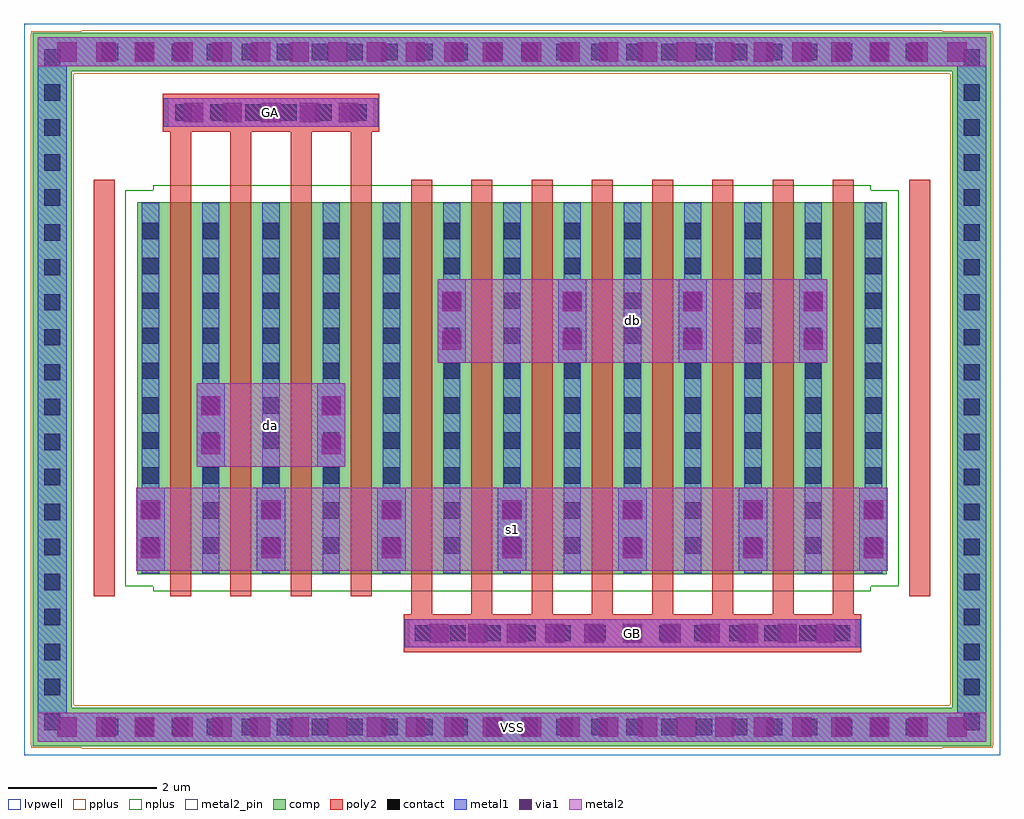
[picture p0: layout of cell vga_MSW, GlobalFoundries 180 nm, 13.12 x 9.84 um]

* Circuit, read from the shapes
.subckt vga_MSW GA GB VSS da db s1
XM1 da GA s1 VSS nfet_03v3 w=5u l=0.28u m=4
XM2 db GB s1 VSS nfet_03v3 w=5u l=0.28u m=8
.ends

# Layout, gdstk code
import gdstk
lib = gdstk.Library(unit=1e-6, precision=1e-09)
def R(c, l, rs):  # rectangles x0, y0, x1, y1
    for r in rs: c.add(gdstk.rectangle(r[:2], r[2:], *l))
def A(c, l, x, y, w, h, nx, ny, dx, dy):  # array of equal rectangles
    R(c, l, [(x+i*dx, y+j*dy, x+i*dx+w, y+j*dy+h) for i in range(nx) for j in range(ny)])
comp = (22, 0)
poly2 = (30, 0)
pplus = (31, 0)
nplus = (32, 0)
contact = (33, 0)
metal1 = (34, 0)
via1 = (35, 0)
metal2 = (36, 0)
metal2_pin = (36, 10)
lvpwell = (204, 0)

vga_msw = lib.new_cell('vga_MSW')
R(vga_msw, comp, [(-1.4,-0.82,11.48,-0.3), (-1.4,-0.3,-0.88,8.255), (10.96,-0.3,11.48,8.255), (0,1.495,10.08,6.495), (-1.4,8.255,11.48,8.775)])
A(vga_msw, poly2, 3.685, 0.955, 0.28, 5.84, 8, 1, 0.81, 0)
A(vga_msw, poly2, 0.445, 1.195, 0.28, 6.25, 4, 1, 0.81, 0)
R(vga_msw, poly2, [(3.585,0.445,9.735,0.955), (-0.58,1.195,-0.3,6.795), (10.38,1.195,10.66,6.795), (0.345,7.445,3.255,7.955)])
R(vga_msw, pplus, [(-0.74,-0.85,10.82,-0.84), (-1.42,-0.84,11.5,-0.795), (-1.43,-0.795,11.51,-0.27), (-1.43,-0.27,-0.85,8.225), (10.93,-0.27,11.51,8.225), (-1.43,8.225,11.51,8.75), (-1.42,8.75,11.5,8.795), (-0.74,8.795,10.82,8.805)])
R(vga_msw, nplus, [(0.215,1.265,9.865,1.335), (-0.16,1.335,10.24,6.655), (0.215,6.655,9.865,6.725)])
A(vga_msw, contact, -0.475, -0.67, 0.22, 0.22, 24, 2, 0.47, 9.075)
A(vga_msw, contact, -1.25, -0.6, 0.22, 0.22, 1, 20, 0, 0.47)
A(vga_msw, contact, 11.11, -0.6, 0.22, 0.22, 1, 20, 0, 0.47)
A(vga_msw, contact, 3.73, 0.59, 0.22, 0.22, 13, 1, 0.47, 0)
A(vga_msw, contact, 0.07, 1.77, 0.22, 0.22, 13, 10, 0.81, 0.47)
A(vga_msw, contact, 0.515, 7.59, 0.22, 0.22, 6, 1, 0.47, 0)
A(vga_msw, metal1, 0.065, 1.505, 0.23, 0.035, 7, 1, 1.62, 0)
A(vga_msw, metal1, 4.115, 1.505, 0.23, 2.835, 4, 1, 1.62, 0)
A(vga_msw, metal1, -0.01, 1.54, 0.38, 1.12, 7, 1, 1.62, 0)
A(vga_msw, metal1, 0.065, 2.66, 0.23, 3.825, 7, 1, 1.62, 0)
A(vga_msw, metal1, 4.04, 4.34, 0.38, 1.12, 4, 1, 1.62, 0)
A(vga_msw, metal1, 4.115, 5.46, 0.23, 1.025, 4, 1, 1.62, 0)
R(vga_msw, metal1, [(-1.335,-0.755,11.415,-0.365), (-1.335,-0.365,-0.945,8.32), (11.025,-0.365,11.415,8.32), (3.595,0.51,9.725,0.89), (0.875,1.505,1.105,2.94), (2.495,1.505,2.725,2.94), (0.8,2.94,1.18,4.06), (2.42,2.94,2.8,4.06), (0.875,4.06,1.105,6.485), (2.495,4.06,2.725,6.485), (0.355,7.51,3.245,7.89), (-1.335,8.32,11.415,8.71)])
A(vga_msw, via1, -1.07, -0.69, 0.26, 0.26, 24, 2, 0.52, 9.075)
A(vga_msw, via1, 3.93, 0.57, 0.26, 0.26, 11, 1, 0.52, 0)
A(vga_msw, via1, 0.05, 1.71, 0.26, 0.26, 7, 2, 1.62, 0.52)
A(vga_msw, via1, 4.1, 4.51, 0.26, 0.26, 4, 2, 1.62, 0.52)
A(vga_msw, via1, 0.63, 7.57, 0.26, 0.26, 5, 1, 0.52, 0)
R(vga_msw, via1, [(0.86,3.11,1.12,3.37), (2.48,3.11,2.74,3.37), (0.86,3.63,1.12,3.89), (2.48,3.63,2.74,3.89)])
R(vga_msw, metal2, [(-1.335,-0.755,11.415,-0.365), (3.65,0.51,9.67,0.89), (-0.01,1.54,10.09,2.66), (0.8,2.94,2.8,4.06), (4.04,4.34,9.28,5.46), (0.41,7.51,3.19,7.89), (-1.335,8.32,11.415,8.71)])
R(vga_msw, metal2_pin, [(-1.335,-0.755,11.415,-0.365), (3.65,0.51,9.67,0.89), (-0.01,1.54,10.09,2.66), (0.8,2.94,2.8,4.06), (4.04,4.34,9.28,5.46), (0.41,7.51,3.19,7.89)])
R(vga_msw, lvpwell, [(-1.52,-0.94,11.6,8.895)])
vga_msw.add(gdstk.Label('s1', (5.04,2.1), layer=36, texttype=10))
vga_msw.add(gdstk.Label('da', (1.8,3.5), layer=36, texttype=10))
vga_msw.add(gdstk.Label('db', (6.66,4.9), layer=36, texttype=10))
vga_msw.add(gdstk.Label('GA', (1.8,7.7), layer=36, texttype=10))
vga_msw.add(gdstk.Label('GB', (6.66,0.7), layer=36, texttype=10))
vga_msw.add(gdstk.Label('VSS', (5.04,-0.56), layer=36, texttype=10))

lib.write_gds('vga_MSW.gds')
